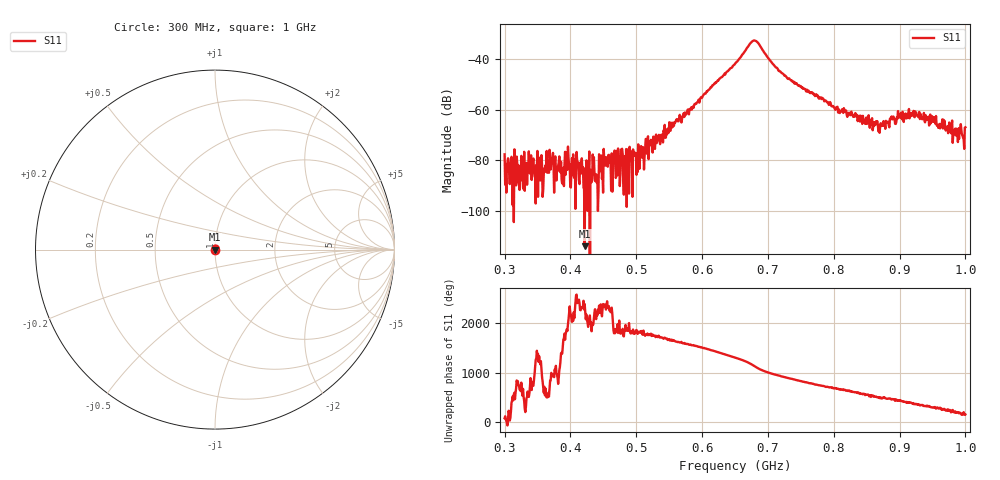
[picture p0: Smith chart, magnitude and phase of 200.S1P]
! C:\Users\rflab\Downloads\q2\200.S1P
! Touchstone 1.1 file saved by VNA.EXE V1.65 (www.ke5fx.com/gpib/readme.htm)
! 11/20/2024 11:13:15 AM
!  Source: HEWLETT PACKARD,8753D,0,6.14
!  Min freq: 3.000000E+008 Hz
!  Max freq: 1.000000E+009 Hz
!  Points: 801
!  Params: S21
# GHZ S MA R 50
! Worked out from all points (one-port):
!   801 points, 300 MHz to 1 GHz, reference 50 ohm
!   lowest |S11| = -114.0 dB at 421.6 MHz (marker M1), VSWR 1.00, Z = 50 - j0.000156 ohm
!   |S11| at or under -10 dB: start of sweep to end of sweep
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0.3  0.000132 80.6
0.304375  9.1e-05 -66.6
0.37175  0.000105 -156.7
0.3875  3.5e-05 -53.1
0.393625  0.000146 41.2
0.421625  2e-06 -128.7
0.46275  0.000138 158.9
0.475  3.1e-05 79.8
0.50125  9.3e-05 27.5
0.517  0.000261 -4.7
0.537125  0.000276 -79.8
0.5625  0.000598 -179.2
0.5835  0.001126 120.2
0.65  0.008168 -132.2
0.673625  0.02108 102.3
0.680625  0.02351 45.6
0.713  0.006896 -123.9
0.7375  0.003611 151.8
0.80575  0.001154 -47.1
0.825  0.000785 -98.3
0.8705  0.000462 123.4
0.888875  0.000649 107.3
0.9125  0.000701 44.4
0.951875  0.000722 -65.2
0.95975  0.000461 -86.3
0.965875  0.000429 -98.2
0.98425  0.000424 -139.9
1  0.000453 156.9
